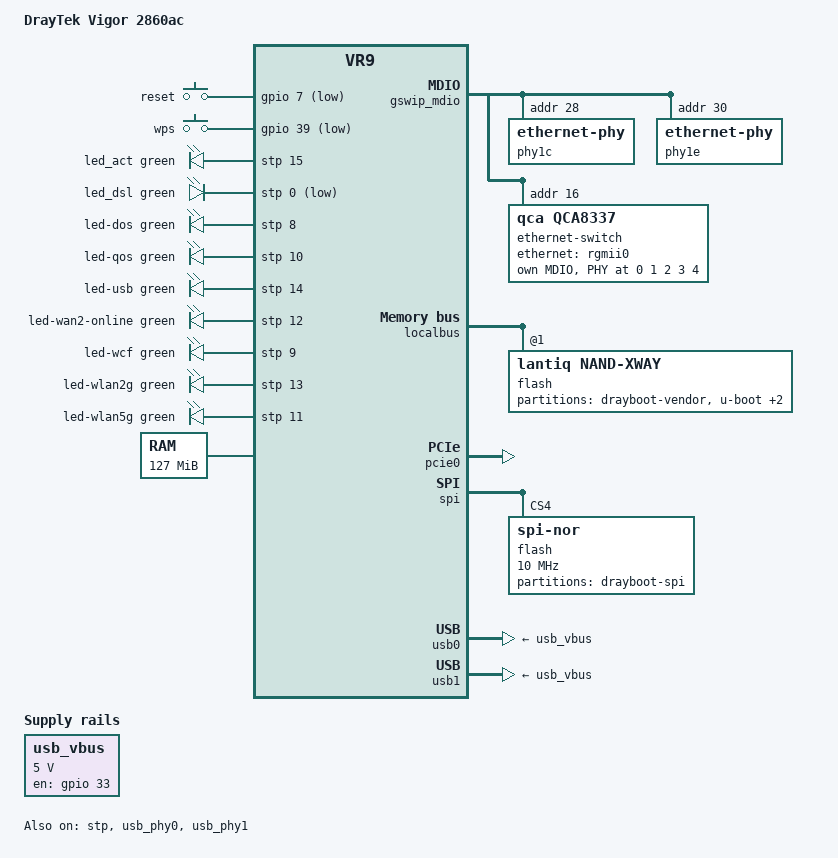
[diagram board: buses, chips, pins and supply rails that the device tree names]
// SPDX-License-Identifier: GPL-2.0-or-later OR MIT

/dts-v1/;

#include "vr9.dtsi"

#include <dt-bindings/gpio/gpio.h>
#include <dt-bindings/input/input.h>
#include <dt-bindings/mips/lantiq_rcu_gphy.h>
#include <dt-bindings/leds/common.h>

/ {
	compatible = "draytek,vigor2860", "lantiq,xway", "lantiq,vr9";
	model = "DrayTek Vigor 2860ac";

	chosen {
		bootargs = "console=ttyLTQ0,115200";
	};

	aliases {
		led-boot = &led_act;
		led-failsafe = &led_act;
		led-running = &led_act;
		led-upgrade = &led_act;
		led-dsl = &led_dsl;
	};

	keys {
		compatible = "gpio-keys-polled";
		poll-interval = <100>;

		reset {
			label = "reset";
			gpios = <&gpio 7 GPIO_ACTIVE_LOW>;
			linux,code = <KEY_RESTART>;
			debounce-interval = <60>;
		};

		wps {
			label = "wps";
			gpios = <&gpio 39 GPIO_ACTIVE_LOW>;
			linux,code = <KEY_WPS_BUTTON>;
			debounce-interval = <600>;
		};
	};

	leds {
		compatible = "gpio-leds";

		led_act: led-act {
			function = LED_FUNCTION_STATUS;
			color = <LED_COLOR_ID_GREEN>;
			gpios = <&stp 15 GPIO_ACTIVE_HIGH>;
		};

		led_dsl: led-dsl {
			function = "dsl";
			color = <LED_COLOR_ID_GREEN>;
			gpios = <&stp 0 GPIO_ACTIVE_LOW>;
		};

		led-dos {
			function = "dos";
			color = <LED_COLOR_ID_GREEN>;
			gpios = <&stp 8 GPIO_ACTIVE_HIGH>;
		};

		led-qos {
			function = "qos";
			color = <LED_COLOR_ID_GREEN>;
			gpios = <&stp 10 GPIO_ACTIVE_HIGH>;
		};

		led-usb {
			function = LED_FUNCTION_USB;
			color = <LED_COLOR_ID_GREEN>;
			gpios = <&stp 14 GPIO_ACTIVE_HIGH>;
		};

		led-wan2-online {
			function = LED_FUNCTION_WAN_ONLINE;
			function-enumerator = <2>;
			color = <LED_COLOR_ID_GREEN>;
			gpios = <&stp 12 GPIO_ACTIVE_HIGH>;
		};

		led-wcf {
			function = "wcf";
			color = <LED_COLOR_ID_GREEN>;
			gpios = <&stp 9 GPIO_ACTIVE_HIGH>;
		};

		led-wlan2g {
			function = LED_FUNCTION_WLAN_2GHZ;
			color = <LED_COLOR_ID_GREEN>;
			gpios = <&stp 13 GPIO_ACTIVE_HIGH>;
		};

		led-wlan5g {
			function = LED_FUNCTION_WLAN_5GHZ;
			color = <LED_COLOR_ID_GREEN>;
			gpios = <&stp 11 GPIO_ACTIVE_HIGH>;
		};
	};

	memory@0 {
		device_type = "memory";
		/* top 1 MiB is used by the vendor firmware, keep it untouched */
		reg = <0x0 0x7f00000>;
	};

	usb_vbus: regulator-usb-vbus {
		compatible = "regulator-fixed";
		regulator-name = "USB_VBUS";
		regulator-min-microvolt = <5000000>;
		regulator-max-microvolt = <5000000>;
		gpio = <&gpio 33 GPIO_ACTIVE_HIGH>;
		enable-active-high;
	};
};

&eth0 {
	nvmem-cells = <&macaddr_drayboot_3fff8 0>;
	nvmem-cell-names = "mac-address";
};

&gpio {
	pinctrl-names = "default";
	pinctrl-0 = <&state_default>;

	state_default: pinmux {
		pcie-rst {
			lantiq,pins = "io38";
			lantiq,pull = <0>;
			lantiq,output = <1>;
		};
	};
};

&gphy0 {
	lantiq,gphy-mode = <GPHY_MODE_GE>;
};

&gphy1 {
	lantiq,gphy-mode = <GPHY_MODE_GE>;
};

&gswip {
	pinctrl-0 = <&mdio_pins>;
	pinctrl-names = "default";
};

&gswip_mdio {
	phy1c: ethernet-phy@1c {
		reg = <0x1c>;

		leds {
			#address-cells = <1>;
			#size-cells = <0>;

			led@0 {
				reg = <0>;
				function = LED_FUNCTION_ACTIVITY;
				function-enumerator = <1>;
				color = <LED_COLOR_ID_GREEN>;
			};

			led@1 {
				reg = <1>;
				function = LED_FUNCTION_LAN;
				function-enumerator = <1>;
				color = <LED_COLOR_ID_GREEN>;
			};
		};
	};

	phy1e: ethernet-phy@1e {
		reg = <0x1e>;

		leds {
			#address-cells = <1>;
			#size-cells = <0>;

			led@0 {
				reg = <0>;
				function = LED_FUNCTION_ACTIVITY;
				function-enumerator = <2>;
				color = <LED_COLOR_ID_GREEN>;
			};

			led@1 {
				reg = <1>;
				function = LED_FUNCTION_WAN;
				function-enumerator = <2>;
				color = <LED_COLOR_ID_GREEN>;
			};
		};
	};

	ethernet-switch@10 {
		compatible = "qca,qca8337";
		reg = <0x10>;

		dsa,member = <1 0>;

		ethernet-ports {
			#address-cells = <1>;
			#size-cells = <0>;

			ethernet-port@0 {
				reg = <0>;
				ethernet = <&rgmii0>;
				phy-mode = "rgmii-id";
				tx-internal-delay-ps = <1000>;
				rx-internal-delay-ps = <2000>;

				fixed-link {
					speed = <1000>;
					full-duplex;
				};
			};

			ethernet-port@1 {
				reg = <1>;
				label = "lan2";
				phy-mode = "internal";
				phy-handle = <&qca_phy0>;

				leds {
					#address-cells = <1>;
					#size-cells = <0>;

					led@0 {
						reg = <0>;
						color = <LED_COLOR_ID_GREEN>;
						function = LED_FUNCTION_ACTIVITY;
						function-enumerator = <2>;
					};

					led@1 {
						reg = <1>;
						color = <LED_COLOR_ID_GREEN>;
						function = LED_FUNCTION_LAN;
						function-enumerator = <2>;
					};
				};
			};

			ethernet-port@2 {
				reg = <2>;
				label = "lan3";
				phy-mode = "internal";
				phy-handle = <&qca_phy1>;

				leds {
					#address-cells = <1>;
					#size-cells = <0>;

					led@0 {
						reg = <0>;
						color = <LED_COLOR_ID_GREEN>;
						function = LED_FUNCTION_ACTIVITY;
						function-enumerator = <3>;
					};

					led@1 {
						reg = <1>;
						color = <LED_COLOR_ID_GREEN>;
						function = LED_FUNCTION_LAN;
						function-enumerator = <3>;
					};
				};
			};

			ethernet-port@3 {
				reg = <3>;
				label = "lan4";
				phy-mode = "internal";
				phy-handle = <&qca_phy2>;

				leds {
					#address-cells = <1>;
					#size-cells = <0>;

					led@0 {
						reg = <0>;
						color = <LED_COLOR_ID_GREEN>;
						function = LED_FUNCTION_ACTIVITY;
						function-enumerator = <4>;
					};

					led@1 {
						reg = <1>;
						color = <LED_COLOR_ID_GREEN>;
						function = LED_FUNCTION_LAN;
						function-enumerator = <4>;
					};
				};
			};

			ethernet-port@4 {
				reg = <4>;
				label = "lan5";
				phy-mode = "internal";
				phy-handle = <&qca_phy3>;

				leds {
					#address-cells = <1>;
					#size-cells = <0>;

					led@0 {
						reg = <0>;
						color = <LED_COLOR_ID_GREEN>;
						function = LED_FUNCTION_ACTIVITY;
						function-enumerator = <5>;
					};

					led@1 {
						reg = <1>;
						color = <LED_COLOR_ID_GREEN>;
						function = LED_FUNCTION_LAN;
						function-enumerator = <5>;
					};
				};
			};

			ethernet-port@5 {
				reg = <5>;
				label = "lan6";
				phy-mode = "internal";
				phy-handle = <&qca_phy4>;

				leds {
					#address-cells = <1>;
					#size-cells = <0>;

					led@0 {
						reg = <0>;
						color = <LED_COLOR_ID_GREEN>;
						function = LED_FUNCTION_ACTIVITY;
						function-enumerator = <6>;
					};

					led@1 {
						reg = <1>;
						color = <LED_COLOR_ID_GREEN>;
						function = LED_FUNCTION_LAN;
						function-enumerator = <6>;
					};
				};
			};
		};

		mdio {
			#address-cells = <1>;
			#size-cells = <0>;

			qca_phy0: ethernet-phy@0 {
				reg = <0>;
			};

			qca_phy1: ethernet-phy@1 {
				reg = <1>;
			};

			qca_phy2: ethernet-phy@2 {
				reg = <2>;
			};

			qca_phy3: ethernet-phy@3 {
				reg = <3>;
			};

			qca_phy4: ethernet-phy@4 {
				reg = <4>;
			};
		};
	};
};

&gswip_ports {
	rgmii0: port@1 {
		reg = <1>;
		label = "sw0";
		/* RGMII delays are added by the QCA8337 (see its port@0) */
		phy-mode = "rgmii";

		fixed-link {
			speed = <1000>;
			full-duplex;
		};
	};

	port@2 {
		reg = <2>;
		label = "lan1";
		phy-mode = "internal";
		phy-handle = <&phy1c>;
	};

	port@4 {
		reg = <4>;
		label = "wan";
		phy-mode = "internal";
		phy-handle = <&phy1e>;
		nvmem-cells = <&macaddr_drayboot_3fff8 2>;
		nvmem-cell-names = "mac-address";
	};
};

&localbus {
	flash@1 {
		compatible = "lantiq,nand-xway";
		lantiq,cs = <1>;
		bank-width = <2>;
		reg = <1 0x0 0x2000000>;

		pinctrl-0 = <&nand_pins>, <&nand_cs1_pins>;
		pinctrl-names = "default";

		nand-use-soft-ecc-engine;

		partitions {
			compatible = "fixed-partitions";
			#address-cells = <1>;
			#size-cells = <1>;

			partition@0 {
				label = "drayboot-vendor";
				reg = <0x0 0x1380000>;
				read-only;
			};

			/* DrayBoot primary firmware slot, holds U-Boot */
			partition@1380000 {
				label = "u-boot";
				reg = <0x1380000 0x100000>;
				read-only;
			};

			partition@1480000 {
				label = "kernel";
				reg = <0x1480000 0x400000>;
			};

			/* ends at the DrayBoot backup slot, kept for recovery */
			partition@1880000 {
				label = "ubi";
				reg = <0x1880000 0x1b00000>;
			};
		};
	};
};

&pcie0 {
	status = "okay";
};

&ppe {
	nvmem-cells = <&macaddr_drayboot_3fff8 2>;
	nvmem-cell-names = "mac-address";
};

&spi {
	status = "okay";

	flash@4 {
		compatible = "jedec,spi-nor";
		reg = <4>;
		spi-max-frequency = <10000000>;

		partitions {
			compatible = "fixed-partitions";
			#address-cells = <1>;
			#size-cells = <1>;

			partition@0 {
				label = "drayboot-spi";
				reg = <0x0 0x40000>;
				read-only;

				nvmem-layout {
					compatible = "fixed-layout";
					#address-cells = <1>;
					#size-cells = <1>;

					macaddr_drayboot_3fff8: macaddr@3fff8 {
						compatible = "mac-base";
						reg = <0x3fff8 0x6>;
						#nvmem-cell-cells = <1>;
					};
				};
			};
		};
	};
};

&stp {
	status = "okay";
	lantiq,shadow = <0x000001>;
	lantiq,groups = <0x7>;
	lantiq,phy1 = <0x3>;
	lantiq,phy2 = <0x3>;
};

&usb0 {
	status = "okay";
	vbus-supply = <&usb_vbus>;
};

&usb1 {
	status = "okay";
	vbus-supply = <&usb_vbus>;
};

&usb_phy0 {
	status = "okay";
};

&usb_phy1 {
	status = "okay";
};

